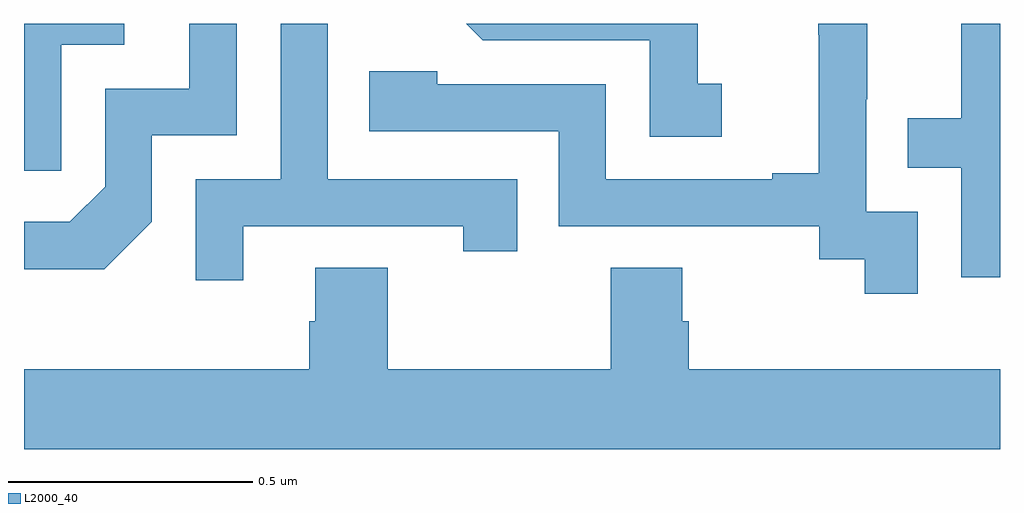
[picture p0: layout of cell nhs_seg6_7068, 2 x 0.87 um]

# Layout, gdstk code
import gdstk
lib = gdstk.Library(unit=1e-6, precision=1e-09)
def P(c, l, *ps):  # polygons
    for p in ps: c.add(gdstk.Polygon(p, *l))
L2000_40 = (2000, 40)

nhs_seg6_7068 = lib.new_cell('nhs_seg6_7068')
P(nhs_seg6_7068, L2000_40, [(203.262,989.094),(203.262,989.271),(203.436,989.271),(203.436,989.5),(203.339,989.5),(203.339,989.367),(203.166,989.367),(203.166,989.166),(203.094,989.094),(203,989.094),(203,988.997),(203.164,988.997)],
  [(203.076,989.457),(203.205,989.457),(203.205,989.5),(203,989.5),(203,989.199),(203.076,989.199)],
  [(205,989.5),(204.921,989.5),(204.921,989.306),(204.811,989.306),(204.811,989.205),(204.921,989.205),(204.921,988.98),(205,988.98)],
  [(204.831,989.115),(204.726,989.115),(204.726,989.345),(204.728,989.345),(204.728,989.5),(204.628,989.5),(204.628,989.477),(204.629,989.477),(204.629,989.194),(204.533,989.194),(204.533,989.181),(204.192,989.181),(204.192,989.376),(203.847,989.376),(203.847,989.403),(203.707,989.403),(203.707,989.28),(204.096,989.28),(204.096,989.085),(204.63,989.085),(204.63,989.017),(204.723,989.017),(204.723,988.947),(204.831,988.947)],
  [(203.449,989.085),(203.9,989.085),(203.9,989.034),(204.011,989.034),(204.011,989.181),(203.622,989.181),(203.622,989.5),(203.526,989.5),(203.526,989.181),(203.352,989.181),(203.352,988.974),(203.449,988.974)],
  [(204.43,989.377),(204.381,989.377),(204.381,989.5),(203.906,989.5),(203.94,989.466),(204.282,989.466),(204.282,989.268),(204.43,989.268)],
  [(205,988.792),(204.362,988.792),(204.362,988.89),(204.349,988.89),(204.349,989),(204.202,989),(204.202,988.792),(203.745,988.792),(203.745,989),(203.597,989),(203.597,988.89),(203.585,988.89),(203.585,988.792),(203,988.792),(203,988.628),(205,988.628)])

lib.write_gds('nhs_seg6_7068.gds')
